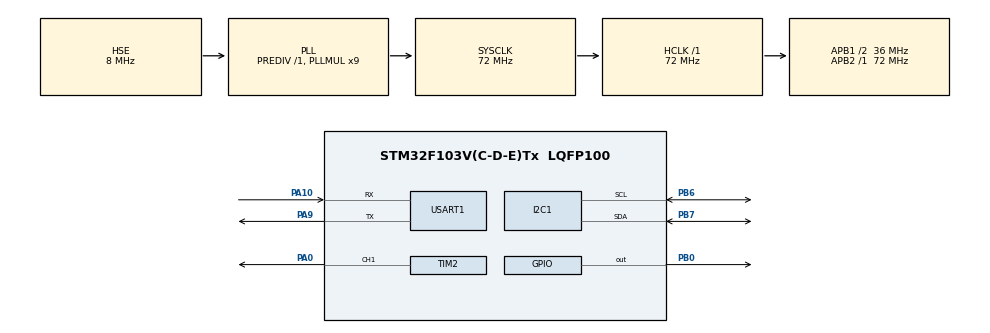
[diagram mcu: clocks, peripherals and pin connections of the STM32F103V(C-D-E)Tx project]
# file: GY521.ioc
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I2C1.I2C_Mode=I2C_Fast
Mcu.Family=STM32F1
Mcu.Name=STM32F103V(C-D-E)Tx
Mcu.Package=LQFP100
NVIC.I2C1_EV_IRQn=true\:0\:0\:false\:false\:true\:true\:true
NVIC.PriorityGroup=NVIC_PRIORITYGROUP_4
NVIC.TIM2_IRQn=true\:0\:0\:false\:false\:true\:true\:true
NVIC.USART1_IRQn=true\:0\:0\:false\:false\:true\:true\:true
OSC_IN.Mode=HSE-External-Oscillator
OSC_IN.Signal=RCC_OSC_IN
OSC_OUT.Mode=HSE-External-Oscillator
OSC_OUT.Signal=RCC_OSC_OUT
PA0-WKUP.Signal=S_TIM2_CH1_ETR
PA10.Mode=Asynchronous
PA10.Signal=USART1_RX
PA13.Mode=Serial_Wire
PA13.Signal=SYS_JTMS-SWDIO
PA14.Mode=Serial_Wire
PA14.Signal=SYS_JTCK-SWCLK
PA9.Mode=Asynchronous
PA9.Signal=USART1_TX
PB0.PinState=GPIO_PIN_SET
PB0.Signal=GPIO_Output
PB6.Mode=I2C
PB6.Signal=I2C1_SCL
PB7.Mode=I2C
PB7.Signal=I2C1_SDA
ProjectManager.HeapSize=0x200
ProjectManager.StackSize=0x400
ProjectManager.TargetToolchain=MDK-ARM V5
RCC.AHBFreq_Value=72000000
RCC.APB1CLKDivider=RCC_HCLK_DIV2
RCC.APB1Freq_Value=36000000
RCC.APB1TimFreq_Value=72000000
RCC.APB2Freq_Value=72000000
RCC.APB2TimFreq_Value=72000000
RCC.HCLKFreq_Value=72000000
RCC.PLLMUL=RCC_PLL_MUL9
RCC.PLLSourceVirtual=RCC_PLLSOURCE_HSE
RCC.SYSCLKFreq_VALUE=72000000
RCC.SYSCLKSource=RCC_SYSCLKSOURCE_PLLCLK
RCC.USBFreq_Value=72000000
SH.S_TIM2_CH1_ETR.0=TIM2_CH1,Output Compare1 CH1
TIM2.Channel-Output\ Compare1\ CH1=TIM_CHANNEL_1
TIM2.Period=5000
TIM2.Prescaler=7200-1
USART1.VirtualMode=VM_ASYNC
VP_TIM2_VS_ClockSourceINT.Mode=Internal
board=custom

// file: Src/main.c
/* USER CODE BEGIN Header */
/**
  ******************************************************************************
  * @file           : main.c
  * @brief          : Main program body
  ******************************************************************************
  * @attention
  *
  * Copyright (c) 2022 STMicroelectronics.
  * All rights reserved.
  *
  * This software is licensed under terms that can be found in the LICENSE file
  * in the root directory of this software component.
  * If no LICENSE file comes with this software, it is provided AS-IS.
  *
  ******************************************************************************
  */
/* USER CODE END Header */
#include "main.h"
#include "i2c.h"
#include "tim.h"
#include "usart.h"
#include "gpio.h"

/* USER CODE BEGIN Includes */
#include "mpu6050.h"
#include "stdio.h"
#include "DMP_test.h"

int DMP_test(void);
unsigned char mpu_dmp_get_data(float *pitch,float *roll,float *yaw);
/* USER CODE END Includes */

/* USER CODE BEGIN PD */
extern float pitch;
extern float roll;										//ŷ����
extern float yaw;

int flag=0;
/* USER CODE END PD */

/* USER CODE BEGIN PV */
void HAL_TIM_PeriodElapsedCallback(TIM_HandleTypeDef *htim)
{
	if(htim->Instance == TIM2)
	{
		if(flag)
		{
			printf("pitch:%f\t,roll:%f\t,yaw:%f\r\n",pitch,roll,yaw);
			flag=0;
		}
	}
}

//void IIC_Write(unsigned char dev_addr,unsigned char mem_addr,unsigned char data)
//{
//	HAL_I2C_Mem_Write(&hi2c1,dev_addr,  mem_addr, I2C_MEMADD_SIZE_8BIT, &data,1,2);
//}

//void IIC_Read(unsigned char dev_addr,unsigned char mem_addr,unsigned char data,unsigned char *buf,unsigned char len)
//{
//	HAL_I2C_Mem_Read(&hi2c1,dev_addr,  mem_addr, I2C_MEMADD_SIZE_8BIT,buf,len,2);
//}

/* USER CODE END PV */

void SystemClock_Config(void);

int main(void)
{

  /* MCU Configuration--------------------------------------------------------*/

  /* Reset of all peripherals, Initializes the Flash interface and the Systick. */
  HAL_Init();

  /* Configure the system clock */
  SystemClock_Config();

  /* Initialize all configured peripherals */
  MX_GPIO_Init();
  MX_I2C1_Init();
  MX_USART1_UART_Init();
  MX_TIM2_Init();
  /* USER CODE BEGIN 2 */
	HAL_TIM_Base_Start_IT(&htim2);
	DMP_test();

  /* USER CODE END 2 */

  /* Infinite loop */
  while (1)
  {

    /* USER CODE BEGIN 3 */
		if(mpu_dmp_get_data(&pitch,&roll,&yaw)==0)

		{
			flag=1;
		}

  }
  /* USER CODE END 3 */
}

void SystemClock_Config(void)
{
  RCC_OscInitTypeDef RCC_OscInitStruct = {0};
  RCC_ClkInitTypeDef RCC_ClkInitStruct = {0};

  /** Initializes the RCC Oscillators according to the specified parameters
  * in the RCC_OscInitTypeDef structure.
  */
  RCC_OscInitStruct.OscillatorType = RCC_OSCILLATORTYPE_HSE;
  RCC_OscInitStruct.HSEState = RCC_HSE_ON;
  RCC_OscInitStruct.HSEPredivValue = RCC_HSE_PREDIV_DIV1;
  RCC_OscInitStruct.HSIState = RCC_HSI_ON;
  RCC_OscInitStruct.PLL.PLLState = RCC_PLL_ON;
  RCC_OscInitStruct.PLL.PLLSource = RCC_PLLSOURCE_HSE;
  RCC_OscInitStruct.PLL.PLLMUL = RCC_PLL_MUL9;
  if (HAL_RCC_OscConfig(&RCC_OscInitStruct) != HAL_OK)
  {
    Error_Handler();
  }
  /** Initializes the CPU, AHB and APB buses clocks
  */
  RCC_ClkInitStruct.ClockType = RCC_CLOCKTYPE_HCLK|RCC_CLOCKTYPE_SYSCLK
                              |RCC_CLOCKTYPE_PCLK1|RCC_CLOCKTYPE_PCLK2;
  RCC_ClkInitStruct.SYSCLKSource = RCC_SYSCLKSOURCE_PLLCLK;
  RCC_ClkInitStruct.AHBCLKDivider = RCC_SYSCLK_DIV1;
  RCC_ClkInitStruct.APB1CLKDivider = RCC_HCLK_DIV2;
  RCC_ClkInitStruct.APB2CLKDivider = RCC_HCLK_DIV1;

  if (HAL_RCC_ClockConfig(&RCC_ClkInitStruct, FLASH_LATENCY_2) != HAL_OK)
  {
    Error_Handler();
  }
}

void Error_Handler(void)
{
  __disable_irq();
  while (1)
  {
  }
}
